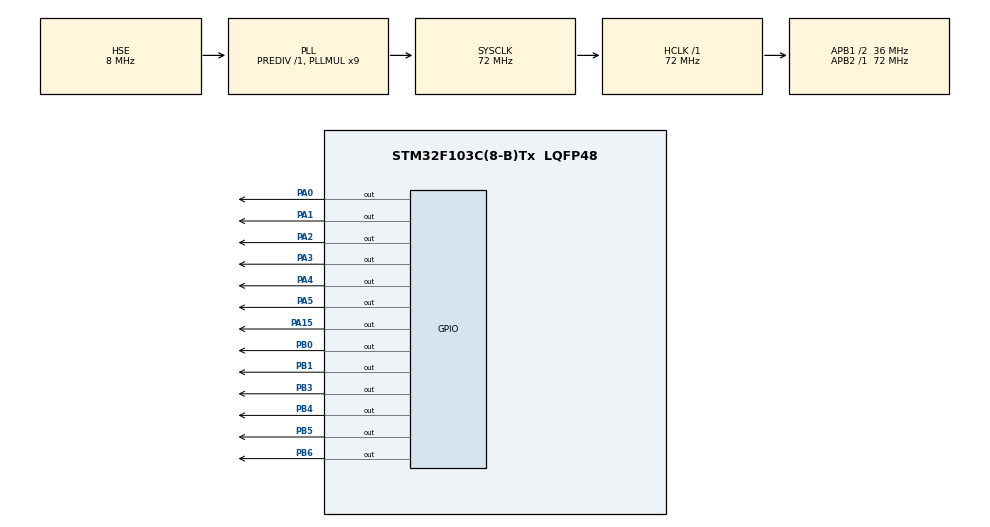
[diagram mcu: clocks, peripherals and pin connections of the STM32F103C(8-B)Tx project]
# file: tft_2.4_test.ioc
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Mcu.Family=STM32F1
Mcu.Name=STM32F103C(8-B)Tx
Mcu.Package=LQFP48
NVIC.PriorityGroup=NVIC_PRIORITYGROUP_4
PA0-WKUP.Signal=GPIO_Output
PA1.Signal=GPIO_Output
PA13.Mode=Serial_Wire
PA13.Signal=SYS_JTMS-SWDIO
PA14.Mode=Serial_Wire
PA14.Signal=SYS_JTCK-SWCLK
PA15.Signal=GPIO_Output
PA2.Signal=GPIO_Output
PA3.Signal=GPIO_Output
PA4.Signal=GPIO_Output
PA5.Signal=GPIO_Output
PB0.Signal=GPIO_Output
PB1.Signal=GPIO_Output
PB3.Signal=GPIO_Output
PB4.Signal=GPIO_Output
PB5.Signal=GPIO_Output
PB6.Signal=GPIO_Output
PD0-OSC_IN.Mode=HSE-External-Oscillator
PD0-OSC_IN.Signal=RCC_OSC_IN
PD1-OSC_OUT.Mode=HSE-External-Oscillator
PD1-OSC_OUT.Signal=RCC_OSC_OUT
ProjectManager.HeapSize=0x200
ProjectManager.StackSize=0x400
ProjectManager.TargetToolchain=STM32CubeIDE
RCC.AHBFreq_Value=72000000
RCC.APB1CLKDivider=RCC_HCLK_DIV2
RCC.APB1Freq_Value=36000000
RCC.APB1TimFreq_Value=72000000
RCC.APB2Freq_Value=72000000
RCC.APB2TimFreq_Value=72000000
RCC.HCLKFreq_Value=72000000
RCC.PLLMUL=RCC_PLL_MUL9
RCC.PLLSourceVirtual=RCC_PLLSOURCE_HSE
RCC.SYSCLKFreq_VALUE=72000000
RCC.SYSCLKSource=RCC_SYSCLKSOURCE_PLLCLK
RCC.USBFreq_Value=72000000
TIM2.Prescaler=71
VP_TIM2_VS_ClockSourceINT.Mode=Internal
board=custom

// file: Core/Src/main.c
/* USER CODE BEGIN Header */
/**
  ******************************************************************************
  * @file           : main.c
  * @brief          : Main program body
  ******************************************************************************
  * @attention
  *
  * Copyright (c) 2024 STMicroelectronics.
  * All rights reserved.
  *
  * This software is licensed under terms that can be found in the LICENSE file
  * in the root directory of this software component.
  * If no LICENSE file comes with this software, it is provided AS-IS.
  *
  ******************************************************************************
  */
/* USER CODE END Header */
#include "main.h"

/* USER CODE BEGIN Includes */
#include "fonts.h"
#include "tft.h"
#include "user_setting.h"
#include "functions.h"
/* USER CODE END Includes */

TIM_HandleTypeDef htim2;

void SystemClock_Config(void);
static void MX_GPIO_Init(void);
static void MX_TIM2_Init(void);
/* USER CODE BEGIN PFP */
void delay(uint32_t time)
{
	/* change your code here for the delay in microseconds */
	__HAL_TIM_SET_COUNTER(&htim2, 0);
	while ((__HAL_TIM_GET_COUNTER(&htim2))<time);
}

/* USER CODE END PFP */

/* USER CODE BEGIN 0 */
uint16_t ID = 0;
/* USER CODE END 0 */

int main(void)
{

  /* MCU Configuration--------------------------------------------------------*/

  /* Reset of all peripherals, Initializes the Flash interface and the Systick. */
  HAL_Init();

  /* Configure the system clock */
  SystemClock_Config();

  /* Initialize all configured peripherals */
  MX_GPIO_Init();
  MX_TIM2_Init();
  /* USER CODE BEGIN 2 */

  HAL_TIM_Base_Start(&htim2);

  ID = readID();

  HAL_Delay(100);

  tft_init(ID);

  setRotation(0);

  fillScreen(BLACK);

  testFillScreen();
  testLines(CYAN);
  testFastLines(RED, BLUE);
  testFilledCircles(10, MAGENTA);
  testCircles(10, WHITE);

  fillScreen(BLACK);

  setRotation(0);

  printnewtstr(100, RED, &mono12x7bold, 2, "HELLO WORLD");

  /* USER CODE END 2 */

  /* Infinite loop */
  /* USER CODE BEGIN WHILE */
  while (1)
  {

	  scrollup(100);
    /* USER CODE END WHILE */

  }
}

void SystemClock_Config(void)
{
  RCC_OscInitTypeDef RCC_OscInitStruct = {0};
  RCC_ClkInitTypeDef RCC_ClkInitStruct = {0};

  /** Initializes the RCC Oscillators according to the specified parameters
  * in the RCC_OscInitTypeDef structure.
  */
  RCC_OscInitStruct.OscillatorType = RCC_OSCILLATORTYPE_HSE;
  RCC_OscInitStruct.HSEState = RCC_HSE_ON;
  RCC_OscInitStruct.HSEPredivValue = RCC_HSE_PREDIV_DIV1;
  RCC_OscInitStruct.HSIState = RCC_HSI_ON;
  RCC_OscInitStruct.PLL.PLLState = RCC_PLL_ON;
  RCC_OscInitStruct.PLL.PLLSource = RCC_PLLSOURCE_HSE;
  RCC_OscInitStruct.PLL.PLLMUL = RCC_PLL_MUL9;
  if (HAL_RCC_OscConfig(&RCC_OscInitStruct) != HAL_OK)
  {
    Error_Handler();
  }

  /** Initializes the CPU, AHB and APB buses clocks
  */
  RCC_ClkInitStruct.ClockType = RCC_CLOCKTYPE_HCLK|RCC_CLOCKTYPE_SYSCLK
                              |RCC_CLOCKTYPE_PCLK1|RCC_CLOCKTYPE_PCLK2;
  RCC_ClkInitStruct.SYSCLKSource = RCC_SYSCLKSOURCE_PLLCLK;
  RCC_ClkInitStruct.AHBCLKDivider = RCC_SYSCLK_DIV1;
  RCC_ClkInitStruct.APB1CLKDivider = RCC_HCLK_DIV2;
  RCC_ClkInitStruct.APB2CLKDivider = RCC_HCLK_DIV1;

  if (HAL_RCC_ClockConfig(&RCC_ClkInitStruct, FLASH_LATENCY_2) != HAL_OK)
  {
    Error_Handler();
  }
}

static void MX_TIM2_Init(void)
{

  TIM_ClockConfigTypeDef sClockSourceConfig = {0};
  TIM_MasterConfigTypeDef sMasterConfig = {0};

  htim2.Instance = TIM2;
  htim2.Init.Prescaler = 71;
  htim2.Init.CounterMode = TIM_COUNTERMODE_UP;
  htim2.Init.Period = 65535;
  htim2.Init.ClockDivision = TIM_CLOCKDIVISION_DIV1;
  htim2.Init.AutoReloadPreload = TIM_AUTORELOAD_PRELOAD_DISABLE;
  if (HAL_TIM_Base_Init(&htim2) != HAL_OK)
  {
    Error_Handler();
  }
  sClockSourceConfig.ClockSource = TIM_CLOCKSOURCE_INTERNAL;
  if (HAL_TIM_ConfigClockSource(&htim2, &sClockSourceConfig) != HAL_OK)
  {
    Error_Handler();
  }
  sMasterConfig.MasterOutputTrigger = TIM_TRGO_RESET;
  sMasterConfig.MasterSlaveMode = TIM_MASTERSLAVEMODE_DISABLE;
  if (HAL_TIMEx_MasterConfigSynchronization(&htim2, &sMasterConfig) != HAL_OK)
  {
    Error_Handler();
  }

}

static void MX_GPIO_Init(void)
{
  GPIO_InitTypeDef GPIO_InitStruct = {0};

  /* GPIO Ports Clock Enable */
  __HAL_RCC_GPIOD_CLK_ENABLE();
  __HAL_RCC_GPIOA_CLK_ENABLE();
  __HAL_RCC_GPIOB_CLK_ENABLE();

  /*Configure GPIO pin Output Level */
  HAL_GPIO_WritePin(GPIOA, GPIO_PIN_0|GPIO_PIN_1|GPIO_PIN_2|GPIO_PIN_3
                          |GPIO_PIN_4|GPIO_PIN_5|GPIO_PIN_15, GPIO_PIN_RESET);

  /*Configure GPIO pin Output Level */
  HAL_GPIO_WritePin(GPIOB, GPIO_PIN_0|GPIO_PIN_1|GPIO_PIN_3|GPIO_PIN_4
                          |GPIO_PIN_5|GPIO_PIN_6, GPIO_PIN_RESET);

  /*Configure GPIO pins : PA0 PA1 PA2 PA3
                           PA4 PA5 PA15 */
  GPIO_InitStruct.Pin = GPIO_PIN_0|GPIO_PIN_1|GPIO_PIN_2|GPIO_PIN_3
                          |GPIO_PIN_4|GPIO_PIN_5|GPIO_PIN_15;
  GPIO_InitStruct.Mode = GPIO_MODE_OUTPUT_PP;
  GPIO_InitStruct.Pull = GPIO_NOPULL;
  GPIO_InitStruct.Speed = GPIO_SPEED_FREQ_LOW;
  HAL_GPIO_Init(GPIOA, &GPIO_InitStruct);

  /*Configure GPIO pins : PB0 PB1 PB3 PB4
                           PB5 PB6 */
  GPIO_InitStruct.Pin = GPIO_PIN_0|GPIO_PIN_1|GPIO_PIN_3|GPIO_PIN_4
                          |GPIO_PIN_5|GPIO_PIN_6;
  GPIO_InitStruct.Mode = GPIO_MODE_OUTPUT_PP;
  GPIO_InitStruct.Pull = GPIO_NOPULL;
  GPIO_InitStruct.Speed = GPIO_SPEED_FREQ_LOW;
  HAL_GPIO_Init(GPIOB, &GPIO_InitStruct);

}

void Error_Handler(void)
{
  __disable_irq();
  while (1)
  {
  }
}
